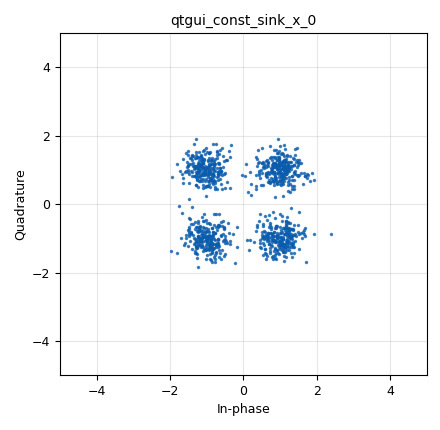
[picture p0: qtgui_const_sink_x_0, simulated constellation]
options:
  parameters:
    generate_options: qt_gui
    id: BPSK_BER_simulation
    output_language: python
  states: {}

blocks:
- name: QPSK_MAP
  id: variable
  parameters:
    value: '[-1-1j, 1-1j, -1+1j, 1+1j]'
  states: {}
- name: SNR
  id: variable_qtgui_range
  parameters:
    label: SNR (dB)
    start: '-15'
    step: '1'
    stop: '20'
    value: '10'
  states: {}
- name: modulation
  id: variable
  parameters:
    value: digital.constellation_bpsk().base()
  states: {}
- name: samp_rate
  id: variable
  parameters:
    value: 32e4
  states: {}
- name: GT_sink
  id: virtual_sink
  parameters:
    stream_id: GT
  states: {}
- name: GT_src
  id: virtual_source
  parameters:
    stream_id: GT
  states: {}
- name: Receiver_snk
  id: virtual_sink
  parameters:
    stream_id: Receiver
  states: {}
- name: Receiver_src
  id: virtual_source
  parameters:
    stream_id: Receiver
  states: {}
- name: Transmitter_Src
  id: virtual_source
  parameters:
    stream_id: Transmitter
  states: {}
- name: Transmitter_snk
  id: virtual_sink
  parameters:
    stream_id: Transmitter
  states: {}
- name: analog_noise_source_x_0
  id: analog_noise_source_x
  parameters:
    amp: math.sqrt(10**(-SNR/10)*2)
    noise_type: analog.GR_GAUSSIAN
    seed: '42'
    type: complex
  states: {}
- name: analog_random_source_x_0_0
  id: analog_random_source_x
  parameters:
    max: '4'
    min: '0'
    num_samps: '1000'
    repeat: 'True'
    type: byte
  states: {}
- name: blocks_add_xx_0
  id: blocks_add_xx
  parameters:
    type: complex
  states: {}
- name: blocks_throttle_0_0
  id: blocks_throttle
  parameters:
    samples_per_second: samp_rate
    type: complex
  states: {}
- name: digital_chunks_to_symbols_xx_0_0
  id: digital_chunks_to_symbols_xx
  parameters:
    dimension: '1'
    in_type: byte
    out_type: complex
    symbol_table: QPSK_MAP
  states: {}
- name: epy_block_0
  id: epy_block
  parameters:
    _source_code: |
      """
      Embedded Python Blocks:

      Each time this file is saved, GRC will instantiate the first class it finds
      to get ports and parameters of your block. The arguments to __init__  will
      be the parameters. All of them are required to have default values!
      """

      import numpy as np
      from gnuradio import gr


      class blk(gr.sync_block):  # other base classes are basic_block, decim_block, interp_block
          """Embedded Python Block example - a simple multiply const"""

          def __init__(self, window_size=10000):  # only default arguments here
              """arguments to this function show up as parameters in GRC"""
              gr.sync_block.__init__(
                  self,
                  name='BER for QPSK',   # will show up in GRC
                  in_sig=[np.byte, np.byte],
                  out_sig=[np.float32]
              )
              
              """
              We created three member variables for you.
              self.window_size: the number of symbols we keep track of
              self.window: a memory of shape (window_size, ). Used to store the most recent
              self.win_ptr: pointing to a position in self.window.
              """
              self.window_size = int(window_size)
              self.window = np.zeros(int(window_size))
              self.win_ptr = 1 % self.window_size
      	


          def work(self, input_items, output_items):
              """
              Add your BER computation method here.
              
              This block takes in two input streams and one block parameter, window_size. 
              The general idea is to use a cyclic-queue (self.window) to store the number of bit errors for the 
              most recent window_size pairs of symbols. 

              We have already provided the BER updating codes. Your task is to update self.window, we compute 
              BER by taking an average of the error bits per symbol.

              Of course, you can change the code if you perfer another method.

              tricky method 1 to compute bit errors per symbol:
                  use bit operations to check whether two bytes are the same. E.g.
                  a = 3, b=2  # a = 0b11 b = 0b10
                  err = a ^ b # a^b = 0b01
                  biterrors = (error & 0b10)>>1 + (error & 0b01)
              
              tricky method 2:
                  create a look-up table for each possible pair of input symbols.


              
              inputs: 
                  input_items: a numpy.array of data type np.byte and of size (2, ?)
              
              outputs:
                  output_items: a numpy.array of data type np.float and of size (1, ?)

              The number of input samples should always be the same as the number of output
              
              """
              ###############################################
              



              ###############################################

              # output_items is updated once per function call. It's lazy but fast.
              BER = sum(self.window) / self.window_size
              output_items[0][:] = np.ones(len(input_items[0][:])) * BER

              return len(output_items[0])
    comment: You need to work on this block
    window_size: 1e5
  states: {}
- name: epy_block_0_0
  id: epy_block
  parameters:
    _source_code: |
      """
      Embedded Python Blocks:

      Each time this file is saved, GRC will instantiate the first class it finds
      to get ports and parameters of your block. The arguments to __init__  will
      be the parameters. All of them are required to have default values!
      """

      import numpy as np
      from gnuradio import gr


      class blk(gr.sync_block):  # other base classes are basic_block, decim_block, interp_block
          """Embedded Python Block example - a simple multiply const"""

          def __init__(self):  # only default arguments here
              """arguments to this function show up as parameters in GRC"""
              gr.sync_block.__init__(
                  self,
                  name='QPSK Decoder',   # block name to display
                  in_sig=[np.complex64], # input data type 
                  out_sig=[np.byte]	   # output data type (similar to char in C/C++)
              )

          def work(self, input_items, output_items):
              """
              Add your QPSK decoding method here
              
              This is a single-in-single-out block. So the input_items and output_items are both a numpy 2-d list of 
      	size (1, ?). The number of data in the input_items[0] is NOT a constant, you should determine it in real
      	time if you would like to use a for-loop. Since the data type is numpy.array, we recommend to use matrix
      	operations to speed up.
      	
      	inputs: 
      		input_items: a numpy.array of data type np.complex64 and of size (1, ?)
      	
      	outputs:
      		output_items: a numpy.array of data type np.byte and of size (1, ?)

      	The number of input samples should always be the same as the number of output
      	
      	"""
      	#print(input_items[0][:2])
              output_items[0][:] = input_items[0].real # dummy code. 
              

      	#######################################
      	
      	# Required by GNURadio, you must return the number of data that can be processed by the following block
      	# In this case, it's the number of decoded symbols
              return len(output_items[0]) 
    comment: You need to work on this block
  states: {}
- name: import_0
  id: import
  parameters:
    imports: import math
  states: {}
- name: qtgui_const_sink_x_0
  id: qtgui_const_sink_x
  parameters:
    size: '1024'
    type: complex
    xmax: '5'
    xmin: '-5'
    ymax: '5'
    ymin: '-5'
  states: {}
- name: qtgui_number_sink_0
  id: qtgui_number_sink
  parameters:
    graph_type: qtgui.NUM_GRAPH_HORIZ
    min: '-0.1'
    name: '"Bit Error Rate"'
    type: float
  states: {}
- name: rpi_iot_BER_bbf_0
  id: rpi_iot_BER_bbf
  parameters:
    bps: ''
    comment: |-
      Use this ground-truth block to check the correctness of your code.
      Press D to disable a block.
      Press E to enable a block.
    window_size: '1000000'
  states: {state: disabled}
- name: rpi_iot_QPSK_Decoder_cb_0
  id: rpi_iot_QPSK_Decoder_cb
  parameters:
    comment: |-
      Use this ground-truth block to check the correctness of your code.
      Press D to disable a block.
      Press E to enable a block.
  states: {state: disabled}

connections:
- [GT_src, '0', epy_block_0, '1']
- [GT_src, '0', rpi_iot_BER_bbf_0, '1']
- [Receiver_src, '0', epy_block_0_0, '0']
- [Receiver_src, '0', rpi_iot_QPSK_Decoder_cb_0, '0']
- [Transmitter_Src, '0', blocks_add_xx_0, '0']
- [analog_noise_source_x_0, '0', blocks_add_xx_0, '1']
- [analog_random_source_x_0_0, '0', GT_sink, '0']
- [analog_random_source_x_0_0, '0', digital_chunks_to_symbols_xx_0_0, '0']
- [blocks_add_xx_0, '0', Receiver_snk, '0']
- [blocks_add_xx_0, '0', qtgui_const_sink_x_0, '0']
- [blocks_throttle_0_0, '0', Transmitter_snk, '0']
- [digital_chunks_to_symbols_xx_0_0, '0', blocks_throttle_0_0, '0']
- [epy_block_0, '0', qtgui_number_sink_0, '0']
- [epy_block_0_0, '0', epy_block_0, '0']
- [epy_block_0_0, '0', rpi_iot_BER_bbf_0, '0']
- [rpi_iot_BER_bbf_0, '0', qtgui_number_sink_0, '0']
- [rpi_iot_QPSK_Decoder_cb_0, '0', rpi_iot_BER_bbf_0, '0']

metadata:
  file_format: 1
